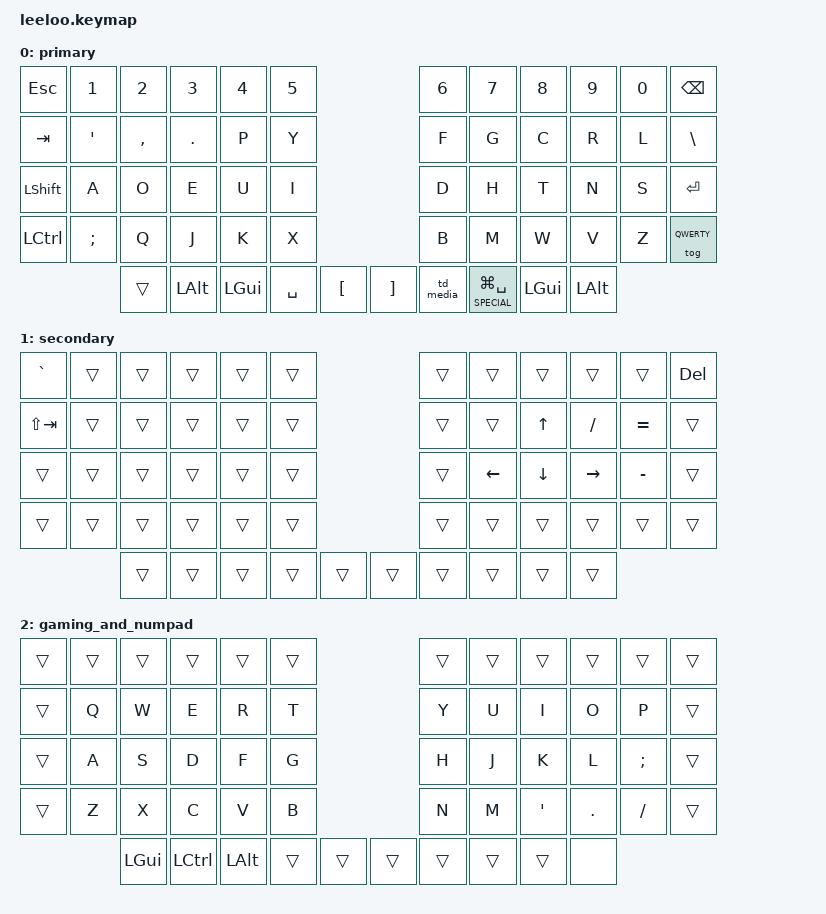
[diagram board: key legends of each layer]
/*
 * Copyright (c) 2020 The ZMK Contributors
 * SPDX-License-Identifier: MIT
 */

#include <behaviors.dtsi>
#include <dt-bindings/zmk/keys.h>

#define TAPPING_TERM 175

// Layer names
#define DVORAK  0
#define SPECIAL 1
#define QWERTY  2

// The launcher key triggers Alfred when pressed, and switches layers when held
#define LAUNCHER    &lt SPECIAL LG(SPACE)

// Friendlier modifier definitions because the OCD gods demand it
#define COMMAND     &kp LGUI
#define OPTION      &kp LALT
#define CONTROL     &kp LCTRL
#define SHIFT       &kp LSHIFT
#define HYPER       &kp LS(LC(LA(LGUI)))

// Escape when tapped, lock when held
#define BYEEEE      &kp ESCAPE // &mt ESCAPE LG(Q)

/*
 * My board doesn't have encoders, so I've removed this from each keymap:
 * sensor-bindings = <&inc_dec_kp &none &none>;
 */

/ {
    behaviors {
        /*
         * td_media mimics the behaviour of AirPod controls:
         *  - tap once for play / pause
         *  - tap twice for next track
         *  - tap three times for previous track
         */
        td_media: tap_dance_media {
            compatible = "zmk,behavior-tap-dance";
            label = "TAP_DANCE_MEDIA";
            #binding-cells = <0>;
            tapping-term-ms = <400>;
            bindings = <&kp C_PLAY_PAUSE>, <&kp C_NEXT>, <&kp C_PREVIOUS>;
        };
    };

    keymap {
		compatible = "zmk,keymap";

        // The primary layer is configured for Dvorak and the most frequently used shortcuts
        primary {
            bindings = <
                BYEEEE       &kp N1        &kp N2        &kp N3        &kp N4        &kp N5                                        &kp N6        &kp N7        &kp N8        &kp N9        &kp N0        &kp BACKSPACE
                &kp TAB      &kp APOS      &kp COMMA     &kp DOT       &kp P         &kp Y                                         &kp F         &kp G         &kp C         &kp R         &kp L         &kp BACKSLASH
                SHIFT        &kp A         &kp O         &kp E         &kp U         &kp I                                         &kp D         &kp H         &kp T         &kp N         &kp S         &kp RETURN
                CONTROL      &kp SEMICOLON &kp Q         &kp J         &kp K         &kp X                                         &kp B         &kp M         &kp W         &kp V         &kp Z         &tog QWERTY
                                           &trans        OPTION        COMMAND       &kp SPACE     &kp LBKT           &kp RBKT     &td_media     LAUNCHER      COMMAND       OPTION
            >;
        };

        // The secondary layer handles navigation
        secondary {
            bindings = <          
                &kp GRAVE     &trans        &trans        &trans        &trans        &trans                                        &trans        &trans        &trans        &trans        &trans       &kp DEL
                &kp LS(TAB)   &trans        &trans        &trans        &trans        &trans                                        &trans        &trans        &kp UP        &kp SLASH     &kp EQUAL    &trans
                &trans        &trans        &trans        &trans        &trans        &trans                                        &trans        &kp LEFT      &kp DOWN      &kp RIGHT     &kp MINUS    &trans
                &trans        &trans        &trans        &trans        &trans        &trans                                        &trans        &trans        &trans        &trans        &trans       &trans
                                            &trans        &trans        &trans        &trans       &trans             &trans        &trans        &trans        &trans        &trans
            >;
        };

        // The tertiary layer is configured as a qwerty fallback layer for gaming, VMs, etc.
        gaming_and_numpad {
            bindings = <          
                &trans        &trans        &trans        &trans        &trans        &trans                                        &trans        &trans        &trans        &trans        &trans       &trans
                &trans        &kp Q         &kp W         &kp E         &kp R         &kp T                                         &kp Y         &kp U         &kp I         &kp O         &kp P        &trans
                &trans        &kp A         &kp S         &kp D         &kp F         &kp G                                         &kp H         &kp J         &kp K         &kp L         &kp SEMI     &trans
                &trans        &kp Z         &kp X         &kp C         &kp V         &kp B                                         &kp N         &kp M         &kp APOS      &kp DOT       &kp SLASH    &trans
                                            COMMAND       CONTROL       OPTION        &trans        &trans            &trans        &trans        &trans        &trans        &none
            >;
        };
    };
};
